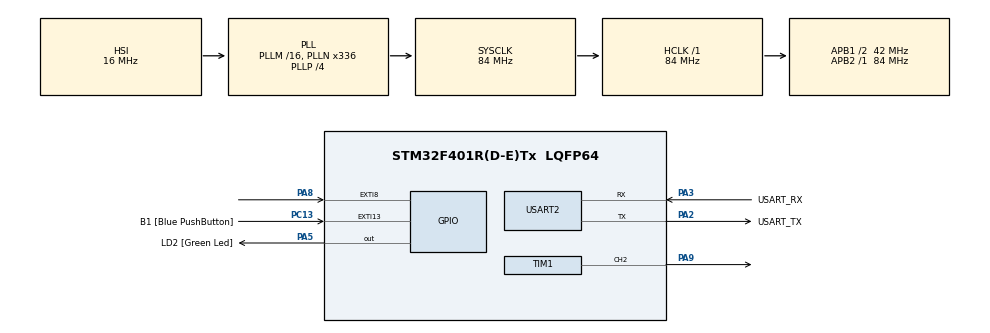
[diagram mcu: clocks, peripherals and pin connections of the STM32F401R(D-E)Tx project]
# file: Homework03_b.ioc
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Mcu.Family=STM32F4
Mcu.Name=STM32F401R(D-E)Tx
Mcu.Package=LQFP64
NVIC.EXTI9_5_IRQn=true\:2\:0\:true\:false\:true\:true\:true\:true
NVIC.PriorityGroup=NVIC_PRIORITYGROUP_4
NVIC.TIM3_IRQn=true\:1\:0\:true\:false\:true\:true\:true\:true
PA13.GPIO_Label=TMS
PA13.Mode=Trace_Asynchronous_SW
PA13.Signal=SYS_JTMS-SWDIO
PA14.GPIO_Label=TCK
PA14.Mode=Trace_Asynchronous_SW
PA14.Signal=SYS_JTCK-SWCLK
PA2.GPIO_Label=USART_TX
PA2.GPIO_Mode=GPIO_MODE_AF_PP
PA2.GPIO_PuPd=GPIO_NOPULL
PA2.GPIO_Speed=GPIO_SPEED_FREQ_LOW
PA2.Mode=Asynchronous
PA2.Signal=USART2_TX
PA3.GPIO_Label=USART_RX
PA3.GPIO_Mode=GPIO_MODE_AF_PP
PA3.GPIO_PuPd=GPIO_NOPULL
PA3.GPIO_Speed=GPIO_SPEED_FREQ_LOW
PA3.Mode=Asynchronous
PA3.Signal=USART2_RX
PA5.GPIO_Label=LD2 [Green Led]
PA5.GPIO_Mode=GPIO_MODE_OUTPUT_PP
PA5.GPIO_PuPd=GPIO_NOPULL
PA5.GPIO_Speed=GPIO_SPEED_FREQ_LOW
PA5.Signal=GPIO_Output
PA8.GPIO_ModeDefaultEXTI=GPIO_MODE_IT_RISING
PA8.Signal=GPXTI8
PA9.Signal=S_TIM1_CH2
PB3.GPIO_Label=SWO
PB3.Mode=Trace_Asynchronous_SW
PB3.Signal=SYS_JTDO-SWO
PC13-ANTI_TAMP.GPIO_Label=B1 [Blue PushButton]
PC13-ANTI_TAMP.GPIO_ModeDefaultEXTI=GPIO_MODE_IT_FALLING
PC13-ANTI_TAMP.GPIO_PuPd=GPIO_NOPULL
PC13-ANTI_TAMP.Signal=GPXTI13
PC14-OSC32_IN.Mode=LSE-External-Oscillator
PC14-OSC32_IN.Signal=RCC_OSC32_IN
PC15-OSC32_OUT.Mode=LSE-External-Oscillator
PC15-OSC32_OUT.Signal=RCC_OSC32_OUT
PH0\ -\ OSC_IN.Mode=HSE-External-Clock-Source
PH0\ -\ OSC_IN.Signal=RCC_OSC_IN
PH1\ -\ OSC_OUT.Mode=HSE-External-Clock-Source
PH1\ -\ OSC_OUT.Signal=RCC_OSC_OUT
ProjectManager.HeapSize=0x200
ProjectManager.StackSize=0x400
ProjectManager.TargetToolchain=STM32CubeIDE
RCC.48MHZClocksFreq_Value=48000000
RCC.AHBFreq_Value=84000000
RCC.APB1CLKDivider=RCC_HCLK_DIV2
RCC.APB1Freq_Value=42000000
RCC.APB1TimFreq_Value=84000000
RCC.APB2Freq_Value=84000000
RCC.APB2TimFreq_Value=84000000
RCC.CortexFreq_Value=84000000
RCC.HCLKFreq_Value=84000000
RCC.HSE_VALUE=8000000
RCC.HSI_VALUE=16000000
RCC.PLLN=336
RCC.PLLP=RCC_PLLP_DIV4
RCC.PLLQ=7
RCC.SYSCLKFreq_VALUE=84000000
RCC.SYSCLKSource=RCC_SYSCLKSOURCE_PLLCLK
RCC.VCOOutputFreq_Value=336000000
SH.S_TIM1_CH2.0=TIM1_CH2,PWM Generation2 CH2
TIM1.Channel-PWM\ Generation2\ CH2=TIM_CHANNEL_2
TIM1.Prescaler=99
TIM3.Period=10
TIM3.Prescaler=8399
USART2.VirtualMode=VM_ASYNC
VP_TIM3_VS_ClockSourceINT.Mode=Internal
board=NUCLEO-F401RE

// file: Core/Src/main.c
/* USER CODE BEGIN Header */
/**
  ******************************************************************************
  * @file           : main.c
  * @brief          : Main program body
  ******************************************************************************
  * @attention
  *
  * Copyright (c) 2025 STMicroelectronics.
  * All rights reserved.
  *
  * This software is licensed under terms that can be found in the LICENSE file
  * in the root directory of this software component.
  * If no LICENSE file comes with this software, it is provided AS-IS.
  *
  ******************************************************************************
  */
/* USER CODE END Header */
#include "main.h"

/* USER CODE BEGIN PTD */
typedef struct {
	uint32_t freq;
	uint32_t duration;
} note_t;

/* USER CODE END PTD */

/* USER CODE BEGIN PD */

#define DO4 3206
#define RE4 2857
#define MI4 2545
#define FA4 2406
#define SOL4 2142
#define LA4 1909
#define SIb4 1802

#define TEMPO 100
/* USER CODE END PD */

TIM_HandleTypeDef htim1;
TIM_HandleTypeDef htim3;

UART_HandleTypeDef huart2;

/* USER CODE BEGIN PV */
uint32_t tick;
uint32_t last_tick;
uint32_t delta;
int i = 0;
uint8_t song_playing;

note_t song[] = {
		{ .freq = DO4 , .duration = 2 },
		{ .freq = RE4 , .duration = 2 },
		{ .freq = MI4 , .duration = 2 },
		{ .freq = FA4 , .duration = 2 },
		{ .freq = SOL4 , .duration = 2 }
};
/* USER CODE END PV */

void SystemClock_Config(void);
static void MX_GPIO_Init(void);
static void MX_USART2_UART_Init(void);
static void MX_TIM1_Init(void);
static void MX_TIM3_Init(void);

/* USER CODE BEGIN 0 */
void Set_Note_PWM(note_t n) {
	__HAL_TIM_SET_AUTORELOAD(&htim1, n.freq);
	__HAL_TIM_SET_COMPARE(&htim1, TIM_CHANNEL_2, n.freq / 2);
	__HAL_TIM_SET_COUNTER(&htim1, 0);
}

void Set_Note_Timer(note_t n) {
	__HAL_TIM_SET_AUTORELOAD(&htim3, n.duration * TEMPO * 10);
	__HAL_TIM_SET_COUNTER(&htim3, 0);
}

void playsong() {
  Set_Note_PWM(song[i]);
  HAL_TIM_PWM_Start(&htim1, TIM_CHANNEL_2);
  Set_Note_Timer(song[i]);
  HAL_TIM_Base_Start_IT(&htim3);
  __HAL_TIM_CLEAR_IT(&htim3, TIM_IT_UPDATE);
}

void HAL_TIM_PeriodElapsedCallback(TIM_HandleTypeDef *htim)
{
    if (htim->Instance == TIM3) {
    	HAL_TIM_PWM_Stop(&htim1, TIM_CHANNEL_2);
    	HAL_TIM_Base_Stop_IT(&htim3);
    	if(++i<sizeof(song)/sizeof(song[0])){
    		playsong();
    	} else {
    		__HAL_TIM_CLEAR_IT(&htim3, TIM_IT_UPDATE);
    		song_playing = 0;
    	}
    }
}

void HAL_GPIO_EXTI_Callback(uint16_t GPIO_Pin) {
	if (GPIO_Pin == GPIO_PIN_8) {
		if(song_playing == 0) {
			i=0;
			song_playing = 1;
			playsong();
		}
	}
}
/* USER CODE END 0 */

int main(void)
{

  /* MCU Configuration--------------------------------------------------------*/

  /* Reset of all peripherals, Initializes the Flash interface and the Systick. */
  HAL_Init();

  /* Configure the system clock */
  SystemClock_Config();

  /* Initialize all configured peripherals */
  MX_GPIO_Init();
  MX_USART2_UART_Init();
  MX_TIM1_Init();
  MX_TIM3_Init();

  /* Infinite loop */
  while (1)
  {

  }
}

void SystemClock_Config(void)
{
  RCC_OscInitTypeDef RCC_OscInitStruct = {0};
  RCC_ClkInitTypeDef RCC_ClkInitStruct = {0};

  /** Configure the main internal regulator output voltage
  */
  __HAL_RCC_PWR_CLK_ENABLE();
  __HAL_PWR_VOLTAGESCALING_CONFIG(PWR_REGULATOR_VOLTAGE_SCALE2);

  /** Initializes the RCC Oscillators according to the specified parameters
  * in the RCC_OscInitTypeDef structure.
  */
  RCC_OscInitStruct.OscillatorType = RCC_OSCILLATORTYPE_HSI;
  RCC_OscInitStruct.HSIState = RCC_HSI_ON;
  RCC_OscInitStruct.HSICalibrationValue = RCC_HSICALIBRATION_DEFAULT;
  RCC_OscInitStruct.PLL.PLLState = RCC_PLL_ON;
  RCC_OscInitStruct.PLL.PLLSource = RCC_PLLSOURCE_HSI;
  RCC_OscInitStruct.PLL.PLLM = 16;
  RCC_OscInitStruct.PLL.PLLN = 336;
  RCC_OscInitStruct.PLL.PLLP = RCC_PLLP_DIV4;
  RCC_OscInitStruct.PLL.PLLQ = 7;
  if (HAL_RCC_OscConfig(&RCC_OscInitStruct) != HAL_OK)
  {
    Error_Handler();
  }

  /** Initializes the CPU, AHB and APB buses clocks
  */
  RCC_ClkInitStruct.ClockType = RCC_CLOCKTYPE_HCLK|RCC_CLOCKTYPE_SYSCLK
                              |RCC_CLOCKTYPE_PCLK1|RCC_CLOCKTYPE_PCLK2;
  RCC_ClkInitStruct.SYSCLKSource = RCC_SYSCLKSOURCE_PLLCLK;
  RCC_ClkInitStruct.AHBCLKDivider = RCC_SYSCLK_DIV1;
  RCC_ClkInitStruct.APB1CLKDivider = RCC_HCLK_DIV2;
  RCC_ClkInitStruct.APB2CLKDivider = RCC_HCLK_DIV1;

  if (HAL_RCC_ClockConfig(&RCC_ClkInitStruct, FLASH_LATENCY_2) != HAL_OK)
  {
    Error_Handler();
  }
}

static void MX_TIM1_Init(void)
{

  TIM_MasterConfigTypeDef sMasterConfig = {0};
  TIM_OC_InitTypeDef sConfigOC = {0};
  TIM_BreakDeadTimeConfigTypeDef sBreakDeadTimeConfig = {0};

  htim1.Instance = TIM1;
  htim1.Init.Prescaler = 99;
  htim1.Init.CounterMode = TIM_COUNTERMODE_UP;
  htim1.Init.Period = 65535;
  htim1.Init.ClockDivision = TIM_CLOCKDIVISION_DIV1;
  htim1.Init.RepetitionCounter = 0;
  htim1.Init.AutoReloadPreload = TIM_AUTORELOAD_PRELOAD_DISABLE;
  if (HAL_TIM_PWM_Init(&htim1) != HAL_OK)
  {
    Error_Handler();
  }
  sMasterConfig.MasterOutputTrigger = TIM_TRGO_RESET;
  sMasterConfig.MasterSlaveMode = TIM_MASTERSLAVEMODE_DISABLE;
  if (HAL_TIMEx_MasterConfigSynchronization(&htim1, &sMasterConfig) != HAL_OK)
  {
    Error_Handler();
  }
  sConfigOC.OCMode = TIM_OCMODE_PWM1;
  sConfigOC.Pulse = 0;
  sConfigOC.OCPolarity = TIM_OCPOLARITY_HIGH;
  sConfigOC.OCNPolarity = TIM_OCNPOLARITY_HIGH;
  sConfigOC.OCFastMode = TIM_OCFAST_DISABLE;
  sConfigOC.OCIdleState = TIM_OCIDLESTATE_RESET;
  sConfigOC.OCNIdleState = TIM_OCNIDLESTATE_RESET;
  if (HAL_TIM_PWM_ConfigChannel(&htim1, &sConfigOC, TIM_CHANNEL_2) != HAL_OK)
  {
    Error_Handler();
  }
  sBreakDeadTimeConfig.OffStateRunMode = TIM_OSSR_DISABLE;
  sBreakDeadTimeConfig.OffStateIDLEMode = TIM_OSSI_DISABLE;
  sBreakDeadTimeConfig.LockLevel = TIM_LOCKLEVEL_OFF;
  sBreakDeadTimeConfig.DeadTime = 0;
  sBreakDeadTimeConfig.BreakState = TIM_BREAK_DISABLE;
  sBreakDeadTimeConfig.BreakPolarity = TIM_BREAKPOLARITY_HIGH;
  sBreakDeadTimeConfig.AutomaticOutput = TIM_AUTOMATICOUTPUT_DISABLE;
  if (HAL_TIMEx_ConfigBreakDeadTime(&htim1, &sBreakDeadTimeConfig) != HAL_OK)
  {
    Error_Handler();
  }
  HAL_TIM_MspPostInit(&htim1);

}

static void MX_TIM3_Init(void)
{

  TIM_ClockConfigTypeDef sClockSourceConfig = {0};
  TIM_MasterConfigTypeDef sMasterConfig = {0};

  htim3.Instance = TIM3;
  htim3.Init.Prescaler = 8399;
  htim3.Init.CounterMode = TIM_COUNTERMODE_UP;
  htim3.Init.Period = 10;
  htim3.Init.ClockDivision = TIM_CLOCKDIVISION_DIV1;
  htim3.Init.AutoReloadPreload = TIM_AUTORELOAD_PRELOAD_DISABLE;
  if (HAL_TIM_Base_Init(&htim3) != HAL_OK)
  {
    Error_Handler();
  }
  sClockSourceConfig.ClockSource = TIM_CLOCKSOURCE_INTERNAL;
  if (HAL_TIM_ConfigClockSource(&htim3, &sClockSourceConfig) != HAL_OK)
  {
    Error_Handler();
  }
  sMasterConfig.MasterOutputTrigger = TIM_TRGO_RESET;
  sMasterConfig.MasterSlaveMode = TIM_MASTERSLAVEMODE_DISABLE;
  if (HAL_TIMEx_MasterConfigSynchronization(&htim3, &sMasterConfig) != HAL_OK)
  {
    Error_Handler();
  }

}

static void MX_USART2_UART_Init(void)
{

  huart2.Instance = USART2;
  huart2.Init.BaudRate = 115200;
  huart2.Init.WordLength = UART_WORDLENGTH_8B;
  huart2.Init.StopBits = UART_STOPBITS_1;
  huart2.Init.Parity = UART_PARITY_NONE;
  huart2.Init.Mode = UART_MODE_TX_RX;
  huart2.Init.HwFlowCtl = UART_HWCONTROL_NONE;
  huart2.Init.OverSampling = UART_OVERSAMPLING_16;
  if (HAL_UART_Init(&huart2) != HAL_OK)
  {
    Error_Handler();
  }

}

static void MX_GPIO_Init(void)
{
  GPIO_InitTypeDef GPIO_InitStruct = {0};

  /* GPIO Ports Clock Enable */
  __HAL_RCC_GPIOC_CLK_ENABLE();
  __HAL_RCC_GPIOH_CLK_ENABLE();
  __HAL_RCC_GPIOA_CLK_ENABLE();
  __HAL_RCC_GPIOB_CLK_ENABLE();

  /*Configure GPIO pin Output Level */
  HAL_GPIO_WritePin(LD2_GPIO_Port, LD2_Pin, GPIO_PIN_RESET);

  /*Configure GPIO pin : B1_Pin */
  GPIO_InitStruct.Pin = B1_Pin;
  GPIO_InitStruct.Mode = GPIO_MODE_IT_FALLING;
  GPIO_InitStruct.Pull = GPIO_NOPULL;
  HAL_GPIO_Init(B1_GPIO_Port, &GPIO_InitStruct);

  /*Configure GPIO pin : LD2_Pin */
  GPIO_InitStruct.Pin = LD2_Pin;
  GPIO_InitStruct.Mode = GPIO_MODE_OUTPUT_PP;
  GPIO_InitStruct.Pull = GPIO_NOPULL;
  GPIO_InitStruct.Speed = GPIO_SPEED_FREQ_LOW;
  HAL_GPIO_Init(LD2_GPIO_Port, &GPIO_InitStruct);

  /*Configure GPIO pin : PA8 */
  GPIO_InitStruct.Pin = GPIO_PIN_8;
  GPIO_InitStruct.Mode = GPIO_MODE_IT_RISING;
  GPIO_InitStruct.Pull = GPIO_NOPULL;
  HAL_GPIO_Init(GPIOA, &GPIO_InitStruct);

  /* EXTI interrupt init*/
  HAL_NVIC_SetPriority(EXTI9_5_IRQn, 2, 0);
  HAL_NVIC_EnableIRQ(EXTI9_5_IRQn);

}

void Error_Handler(void)
{
  __disable_irq();
  while (1)
  {
  }
}
